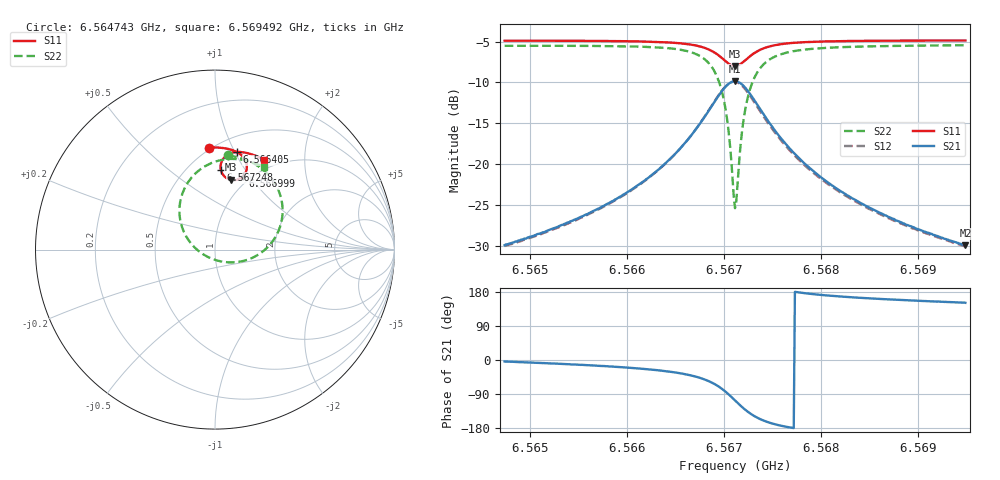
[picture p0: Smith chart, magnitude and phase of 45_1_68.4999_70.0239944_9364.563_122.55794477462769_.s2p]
#  HZ  S  RI  R  50.00
! Rohde & Schwarz Vector Network Analyzer
! Rohde-Schwarz,ZNB20-2Port,1311601062101988,3.16
! Created: UTC 3/20/2024, 4:50:35 PM
! freq[Hz]  re:S11  im:S11  re:S21  im:S21  re:S12  im:S12  re:S22  im:S22
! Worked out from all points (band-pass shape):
!   401 points, 6.564743 GHz to 6.569492 GHz, reference 50 ohm
!   highest |S21| = -9.85 dB at 6.567117 GHz (marker M1); lowest = -29.9 dB at 6.569492 GHz (marker M2)
!   |S21| within 3 dB of the highest: 6.566879 GHz to 6.567354 GHz (475 kHz wide, 0.00723 % of centre)
!   lowest |S11| = -8.0 dB at 6.567117 GHz (marker M3), VSWR 2.33, Z = 42.7 + j39.5 ohm
!   |S11| at or under -10 dB: nowhere
!   |S22| runs from -25.4 to -5.4 dB; largest |S21 - S12| = 0.017
!   S11 on the Smith chart (normalised r, x): 6.564743 GHz: 0.49, +0.82; 6.566405 GHz: 0.65, +1.02; 6.566999 GHz: 0.92, +0.93; 6.567248 GHz: 0.71, +0.78; 6.569492 GHz: 0.87, +1.29
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6.5647434e9  -0.0315 0.5685  0.032 -0.00216  0.0316 -0.00273  0.0727 0.5246
6.5655387e9  0.0357 0.5668  0.0469 -0.0106  0.046 -0.0114  0.1543 0.5062
6.5659779e9  0.0768 0.5599  0.0621 -0.0221  0.061 -0.0227  0.2121 0.4817
6.566334e9  0.1152 0.5469  0.083 -0.0429  0.0819 -0.0442  0.2754 0.4383
6.5664053e9  0.1238 0.5426  0.0889 -0.0502  0.0876 -0.0514  0.2908 0.4238
6.5666427e9  0.1548 0.5185  0.1113 -0.0918  0.1097 -0.0938  0.3482 0.3425
6.5668207e9  0.1754 0.4794  0.1215 -0.161  0.118 -0.1646  0.3767 0.2087
6.5669275e9  0.1743 0.4396  0.1004 -0.231  0.0935 -0.2358  0.3399 0.0754
6.5669988e9  0.1563 0.4089  0.0543 -0.2831  0.0431 -0.2867  0.2523 -0.0206
6.5670462e9  0.1332 0.3929  0.0033 -0.3084  -0.0108 -0.3089  0.1568 -0.0633
6.5670937e9  0.1031 0.3869  -0.0594 -0.3147  -0.0749 -0.3102  0.0419 -0.0677
6.5671175e9  0.0872 0.3889  -0.0919 -0.3083  -0.1066 -0.301  -0.0151 -0.0518
6.5671412e9  0.0721 0.3941  -0.1223 -0.2958  -0.1359 -0.286  -0.0675 -0.0251
6.5671768e9  0.0529 0.4076  -0.1608 -0.2672  -0.1713 -0.2546  -0.1312 0.0313
6.5672006e9  0.0435 0.419  -0.1804 -0.2443  -0.1885 -0.2304  -0.1614 0.0751
6.567248e9  0.0326 0.444  -0.2037 -0.1946  -0.2074 -0.1806  -0.1938 0.1654
6.567343e9  0.0359 0.4876  -0.2055 -0.1107  -0.2033 -0.0997  -0.1817 0.3123
6.5674855e9  0.063 0.5234  -0.1697 -0.041  -0.1658 -0.0352  -0.1042 0.4286
6.5676516e9  0.0948 0.5394  -0.1305 -0.00784  -0.1272 -0.00476  -0.0228 0.481
6.5679128e9  0.1338 0.5441  -0.0917 0.00951  -0.0893 0.011  0.0635 0.5034
6.5687081e9  0.2138 0.5275  -0.0446 0.0164  -0.0436 0.0167  0.1973 0.4899
6.5694915e9  0.2744 0.5009  -0.028 0.0156  -0.0275 0.0157  0.2736 0.4587
